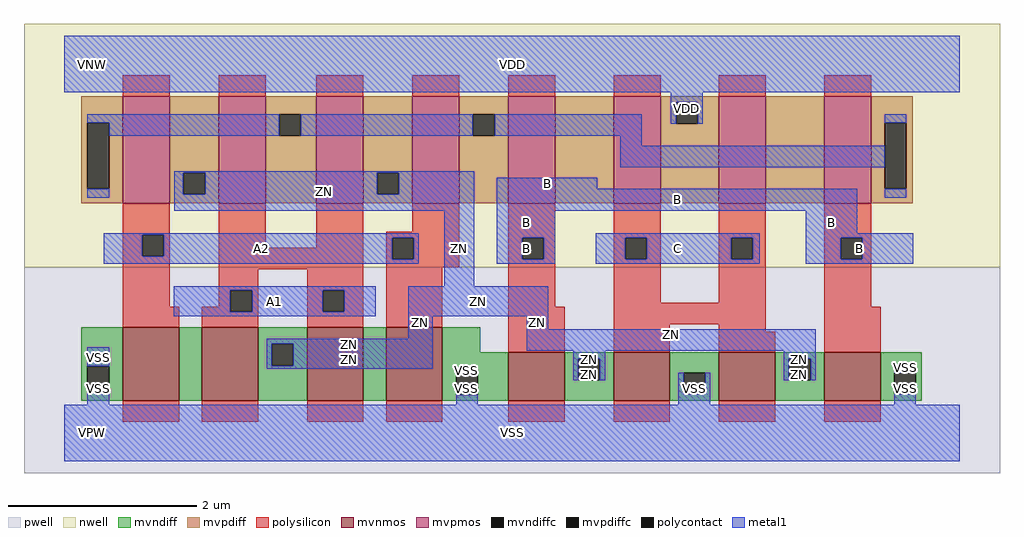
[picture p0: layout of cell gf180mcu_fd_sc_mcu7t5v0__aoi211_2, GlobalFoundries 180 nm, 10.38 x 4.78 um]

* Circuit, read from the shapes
.subckt gf180mcu_fd_sc_mcu7t5v0__aoi211_2 A1 A2 B C ZN VDD VNW VPW VSS
XM1 n1 A2 VSS VPW nfet_06v0 w=0.78u l=0.6u
XM2 ZN A1 n1 VPW nfet_06v0 w=0.78u l=0.6u
XM3 n2 A1 ZN VPW nfet_06v0 w=0.78u l=0.6u
XM4 VSS A2 n2 VPW nfet_06v0 w=0.78u l=0.6u
XM5 ZN B VSS VPW nfet_06v0 w=0.515u l=0.6u m=2
XM6 VSS C ZN VPW nfet_06v0 w=0.515u l=0.6u m=2
XM7 ZN A2 n3 VNW pfet_06v0 w=1.14u l=0.5u m=2
XM8 n3 A1 ZN VNW pfet_06v0 w=1.14u l=0.5u m=2
XM9 n4 B n3 VNW pfet_06v0 w=1.14u l=0.5u
XM10 VDD C n4 VNW pfet_06v0 w=1.14u l=0.5u
XM11 n5 C VDD VNW pfet_06v0 w=1.14u l=0.5u
XM12 n3 B n5 VNW pfet_06v0 w=1.14u l=0.5u
.ends

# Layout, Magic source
magic
tech gf180mcuD
magscale 1 10
<< nwell >>
rect -86 352 1990 870
<< pwell >>
rect -86 -86 1990 352
<< mvnmos >>
rect 124 68 244 224
rect 292 68 412 224
rect 516 68 636 224
rect 684 68 804 224
rect 944 68 1064 171
rect 1168 68 1288 171
rect 1392 68 1512 171
rect 1616 68 1736 171
<< mvpmos >>
rect 124 488 224 716
rect 328 488 428 716
rect 536 488 636 716
rect 740 488 840 716
rect 944 488 1044 716
rect 1168 488 1268 716
rect 1392 488 1492 716
rect 1616 488 1716 716
<< mvndiff >>
rect 36 142 124 224
rect 36 96 49 142
rect 95 96 124 142
rect 36 68 124 96
rect 244 68 292 224
rect 412 189 516 224
rect 412 143 441 189
rect 487 143 516 189
rect 412 68 516 143
rect 636 68 684 224
rect 804 171 884 224
rect 804 127 944 171
rect 804 81 833 127
rect 879 81 944 127
rect 804 68 944 81
rect 1064 158 1168 171
rect 1064 112 1093 158
rect 1139 112 1168 158
rect 1064 68 1168 112
rect 1288 128 1392 171
rect 1288 82 1317 128
rect 1363 82 1392 128
rect 1288 68 1392 82
rect 1512 158 1616 171
rect 1512 112 1541 158
rect 1587 112 1616 158
rect 1512 68 1616 112
rect 1736 128 1824 171
rect 1736 82 1765 128
rect 1811 82 1824 128
rect 1736 68 1824 82
<< mvpdiff >>
rect 36 659 124 716
rect 36 519 49 659
rect 95 519 124 659
rect 36 488 124 519
rect 224 553 328 716
rect 224 507 253 553
rect 299 507 328 553
rect 224 488 328 507
rect 428 678 536 716
rect 428 632 457 678
rect 503 632 536 678
rect 428 488 536 632
rect 636 553 740 716
rect 636 507 665 553
rect 711 507 740 553
rect 636 488 740 507
rect 840 678 944 716
rect 840 632 869 678
rect 915 632 944 678
rect 840 488 944 632
rect 1044 488 1168 716
rect 1268 703 1392 716
rect 1268 657 1301 703
rect 1347 657 1392 703
rect 1268 488 1392 657
rect 1492 488 1616 716
rect 1716 659 1804 716
rect 1716 519 1745 659
rect 1791 519 1804 659
rect 1716 488 1804 519
<< mvndiffc >>
rect 49 96 95 142
rect 441 143 487 189
rect 833 81 879 127
rect 1093 112 1139 158
rect 1317 82 1363 128
rect 1541 112 1587 158
rect 1765 82 1811 128
<< mvpdiffc >>
rect 49 519 95 659
rect 253 507 299 553
rect 457 632 503 678
rect 665 507 711 553
rect 869 632 915 678
rect 1301 657 1347 703
rect 1745 519 1791 659
<< polysilicon >>
rect 124 716 224 760
rect 328 716 428 760
rect 536 716 636 760
rect 740 716 840 760
rect 944 716 1044 760
rect 1168 716 1268 760
rect 1392 716 1492 760
rect 1616 716 1716 760
rect 124 421 224 488
rect 124 375 165 421
rect 211 375 224 421
rect 124 268 224 375
rect 328 394 428 488
rect 536 394 636 488
rect 740 428 840 488
rect 328 348 636 394
rect 328 303 412 348
rect 328 268 353 303
rect 124 224 244 268
rect 292 257 353 268
rect 399 257 412 303
rect 292 224 412 257
rect 516 303 636 348
rect 516 257 549 303
rect 595 257 636 303
rect 516 224 636 257
rect 684 415 840 428
rect 684 369 697 415
rect 743 369 840 415
rect 684 352 840 369
rect 944 415 1044 488
rect 944 369 974 415
rect 1020 369 1044 415
rect 684 224 804 352
rect 944 268 1044 369
rect 1168 415 1268 488
rect 1168 369 1193 415
rect 1239 369 1268 415
rect 1168 277 1268 369
rect 1392 415 1492 488
rect 1392 369 1418 415
rect 1464 369 1492 415
rect 1392 277 1492 369
rect 944 171 1064 268
rect 1168 231 1492 277
rect 1168 171 1288 231
rect 1392 215 1492 231
rect 1616 415 1716 488
rect 1616 369 1651 415
rect 1697 369 1716 415
rect 1616 268 1716 369
rect 1392 171 1512 215
rect 1616 171 1736 268
rect 124 24 244 68
rect 292 24 412 68
rect 516 24 636 68
rect 684 24 804 68
rect 944 24 1064 68
rect 1168 24 1288 68
rect 1392 24 1512 68
rect 1616 24 1736 68
<< polycontact >>
rect 165 375 211 421
rect 353 257 399 303
rect 549 257 595 303
rect 697 369 743 415
rect 974 369 1020 415
rect 1193 369 1239 415
rect 1418 369 1464 415
rect 1651 369 1697 415
<< metal1 >>
rect 0 724 1904 844
rect 1290 703 1358 724
rect 49 659 457 678
rect 95 632 457 659
rect 503 632 869 678
rect 915 632 1228 678
rect 1290 657 1301 703
rect 1347 657 1358 703
rect 1745 659 1791 678
rect 1182 611 1228 632
rect 1182 565 1745 611
rect 49 500 95 519
rect 234 553 872 556
rect 234 507 253 553
rect 299 507 665 553
rect 711 507 872 553
rect 234 472 872 507
rect 84 421 754 424
rect 84 375 165 421
rect 211 415 754 421
rect 211 375 697 415
rect 84 369 697 375
rect 743 369 754 415
rect 84 360 754 369
rect 808 312 872 472
rect 920 519 1133 542
rect 920 472 1686 519
rect 1745 500 1791 519
rect 920 415 1044 472
rect 1577 424 1686 472
rect 920 369 974 415
rect 1020 369 1044 415
rect 920 360 1044 369
rect 1130 415 1479 424
rect 1130 369 1193 415
rect 1239 369 1418 415
rect 1464 369 1479 415
rect 1130 360 1479 369
rect 1577 415 1805 424
rect 1577 369 1651 415
rect 1697 369 1805 415
rect 1577 360 1805 369
rect 232 303 662 312
rect 232 257 353 303
rect 399 257 549 303
rect 595 257 662 303
rect 232 248 662 257
rect 731 248 1029 312
rect 731 200 783 248
rect 430 189 783 200
rect 49 142 95 182
rect 430 143 441 189
rect 487 143 783 189
rect 983 220 1029 248
rect 983 174 1598 220
rect 430 136 783 143
rect 1082 158 1150 174
rect 49 60 95 96
rect 833 127 879 138
rect 1082 112 1093 158
rect 1139 112 1150 158
rect 1530 158 1598 174
rect 833 60 879 81
rect 1306 82 1317 128
rect 1363 82 1374 128
rect 1530 112 1541 158
rect 1587 112 1598 158
rect 1765 128 1811 139
rect 1306 60 1374 82
rect 1765 60 1811 82
rect 0 -60 1904 60
<< labels >>
flabel metal1 s 920 519 1133 542 0 FreeSans 400 0 0 0 B
port 3 nsew default input
flabel metal1 s 1130 360 1479 424 0 FreeSans 400 0 0 0 C
port 4 nsew default input
flabel metal1 s 0 724 1904 844 0 FreeSans 400 0 0 0 VDD
port 6 nsew power bidirectional abutment
flabel metal1 s 49 139 95 182 0 FreeSans 400 0 0 0 VSS
port 9 nsew ground bidirectional abutment
flabel metal1 s 234 472 872 556 0 FreeSans 400 0 0 0 ZN
port 5 nsew default output
flabel metal1 s 232 248 662 312 0 FreeSans 400 0 0 0 A1
port 1 nsew default input
flabel metal1 s 84 360 754 424 0 FreeSans 400 0 0 0 A2
port 2 nsew default input
flabel nwell s 10 734 110 834 0 FreeSans 400 0 0 0 VNW
port 7 nsew power bidirectional
flabel pwell s 10 -50 110 50 0 FreeSans 400 0 0 0 VPW
port 8 nsew ground bidirectional
rlabel metal1 s 920 472 1686 519 1 B
port 3 nsew default input
rlabel metal1 s 1577 424 1686 472 1 B
port 3 nsew default input
rlabel metal1 s 920 424 1044 472 1 B
port 3 nsew default input
rlabel metal1 s 1577 360 1805 424 1 B
port 3 nsew default input
rlabel metal1 s 920 360 1044 424 1 B
port 3 nsew default input
rlabel metal1 s 808 312 872 472 1 ZN
port 5 nsew default output
rlabel metal1 s 731 248 1029 312 1 ZN
port 5 nsew default output
rlabel metal1 s 983 220 1029 248 1 ZN
port 5 nsew default output
rlabel metal1 s 731 220 783 248 1 ZN
port 5 nsew default output
rlabel metal1 s 983 200 1598 220 1 ZN
port 5 nsew default output
rlabel metal1 s 731 200 783 220 1 ZN
port 5 nsew default output
rlabel metal1 s 983 174 1598 200 1 ZN
port 5 nsew default output
rlabel metal1 s 430 174 783 200 1 ZN
port 5 nsew default output
rlabel metal1 s 1530 136 1598 174 1 ZN
port 5 nsew default output
rlabel metal1 s 1082 136 1150 174 1 ZN
port 5 nsew default output
rlabel metal1 s 430 136 783 174 1 ZN
port 5 nsew default output
rlabel metal1 s 1530 112 1598 136 1 ZN
port 5 nsew default output
rlabel metal1 s 1082 112 1150 136 1 ZN
port 5 nsew default output
rlabel metal1 s 1290 657 1358 724 1 VDD
port 6 nsew power bidirectional abutment
rlabel metal1 s 1765 138 1811 139 1 VSS
port 9 nsew ground bidirectional abutment
rlabel metal1 s 49 138 95 139 1 VSS
port 9 nsew ground bidirectional abutment
rlabel metal1 s 1765 128 1811 138 1 VSS
port 9 nsew ground bidirectional abutment
rlabel metal1 s 833 128 879 138 1 VSS
port 9 nsew ground bidirectional abutment
rlabel metal1 s 49 128 95 138 1 VSS
port 9 nsew ground bidirectional abutment
rlabel metal1 s 1765 60 1811 128 1 VSS
port 9 nsew ground bidirectional abutment
rlabel metal1 s 1306 60 1374 128 1 VSS
port 9 nsew ground bidirectional abutment
rlabel metal1 s 833 60 879 128 1 VSS
port 9 nsew ground bidirectional abutment
rlabel metal1 s 49 60 95 128 1 VSS
port 9 nsew ground bidirectional abutment
rlabel metal1 s 0 -60 1904 60 1 VSS
port 9 nsew ground bidirectional abutment
<< properties >>
string FIXED_BBOX 0 0 1904 784
string GDS_END 1284732
string GDS_FILE $PDKPATH/libs.ref/gf180mcu_fd_sc_mcu7t5v0/gds/gf180mcu_fd_sc_mcu7t5v0.gds
string GDS_START 1280110
string LEFclass core
string LEFsite GF018hv5v_mcu_sc7
string LEFsymmetry X Y
<< end >>
